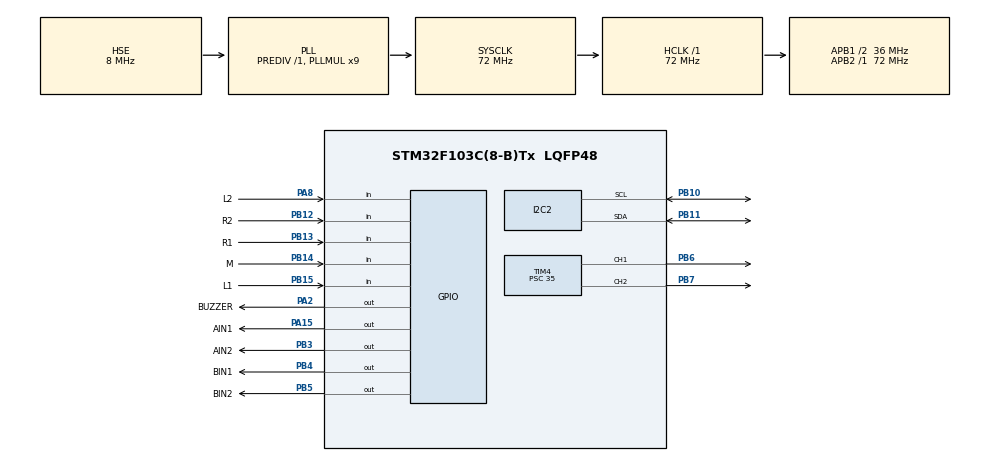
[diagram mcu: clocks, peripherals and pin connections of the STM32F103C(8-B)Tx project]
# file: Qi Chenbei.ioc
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Mcu.Family=STM32F1
Mcu.Name=STM32F103C(8-B)Tx
Mcu.Package=LQFP48
NVIC.PriorityGroup=NVIC_PRIORITYGROUP_4
PA13.Mode=Serial_Wire
PA13.Signal=SYS_JTMS-SWDIO
PA14.Mode=Serial_Wire
PA14.Signal=SYS_JTCK-SWCLK
PA15.GPIO_Label=AIN1
PA15.Signal=GPIO_Output
PA2.GPIO_Label=BUZZER
PA2.Signal=GPIO_Output
PA8.GPIO_Label=L2
PA8.GPIO_PuPd=GPIO_PULLUP
PA8.Signal=GPIO_Input
PB10.Mode=I2C
PB10.Signal=I2C2_SCL
PB11.Mode=I2C
PB11.Signal=I2C2_SDA
PB12.GPIO_Label=R2
PB12.GPIO_PuPd=GPIO_PULLUP
PB12.Signal=GPIO_Input
PB13.GPIO_Label=R1
PB13.GPIO_PuPd=GPIO_PULLUP
PB13.Signal=GPIO_Input
PB14.GPIO_Label=M
PB14.GPIO_PuPd=GPIO_PULLUP
PB14.Signal=GPIO_Input
PB15.GPIO_Label=L1
PB15.GPIO_PuPd=GPIO_PULLUP
PB15.Signal=GPIO_Input
PB3.GPIO_Label=AIN2
PB3.Signal=GPIO_Output
PB4.GPIO_Label=BIN1
PB4.Signal=GPIO_Output
PB5.GPIO_Label=BIN2
PB5.Signal=GPIO_Output
PB6.Signal=S_TIM4_CH1
PB7.Signal=S_TIM4_CH2
PC14-OSC32_IN.Mode=LSE-External-Oscillator
PC14-OSC32_IN.Signal=RCC_OSC32_IN
PC15-OSC32_OUT.Mode=LSE-External-Oscillator
PC15-OSC32_OUT.Signal=RCC_OSC32_OUT
PD0-OSC_IN.Mode=HSE-External-Oscillator
PD0-OSC_IN.Signal=RCC_OSC_IN
PD1-OSC_OUT.Mode=HSE-External-Oscillator
PD1-OSC_OUT.Signal=RCC_OSC_OUT
ProjectManager.HeapSize=0x200
ProjectManager.StackSize=0x400
ProjectManager.TargetToolchain=MDK-ARM V5.32
RCC.AHBFreq_Value=72000000
RCC.APB1CLKDivider=RCC_HCLK_DIV2
RCC.APB1Freq_Value=36000000
RCC.APB1TimFreq_Value=72000000
RCC.APB2Freq_Value=72000000
RCC.APB2TimFreq_Value=72000000
RCC.HCLKFreq_Value=72000000
RCC.PLLMUL=RCC_PLL_MUL9
RCC.PLLSourceVirtual=RCC_PLLSOURCE_HSE
RCC.SYSCLKFreq_VALUE=72000000
RCC.SYSCLKSource=RCC_SYSCLKSOURCE_PLLCLK
RCC.USBFreq_Value=72000000
SH.S_TIM4_CH1.0=TIM4_CH1,PWM Generation1 CH1
SH.S_TIM4_CH2.0=TIM4_CH2,PWM Generation2 CH2
TIM4.Channel-PWM\ Generation1\ CH1=TIM_CHANNEL_1
TIM4.Channel-PWM\ Generation2\ CH2=TIM_CHANNEL_2
TIM4.Period=99
TIM4.Prescaler=35
board=custom

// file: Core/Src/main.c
/* USER CODE BEGIN Header */
/**
  ******************************************************************************
  * @file           : main.c
  * @brief          : Main program body
  ******************************************************************************
  * @attention
  *
  * Copyright (c) 2026 STMicroelectronics.
  * All rights reserved.
  *
  * This software is licensed under terms that can be found in the LICENSE file
  * in the root directory of this software component.
  * If no LICENSE file comes with this software, it is provided AS-IS.
  *
  ******************************************************************************
  */
/* USER CODE END Header */
#include "main.h"
#include "i2c.h"
#include "tim.h"
#include "gpio.h"

/* USER CODE BEGIN Includes */
#include "motor.h"
#include "buzzer.h"
#include "oled.h"
#include "track.h"
/* USER CODE END Includes */

void SystemClock_Config(void);

/* USER CODE BEGIN 0 */

#define L2 HAL_GPIO_ReadPin(GPIOB, GPIO_PIN_12)
#define L1 HAL_GPIO_ReadPin(GPIOB, GPIO_PIN_13)
#define M  HAL_GPIO_ReadPin(GPIOB, GPIO_PIN_14)
#define R1 HAL_GPIO_ReadPin(GPIOB, GPIO_PIN_15)
#define R2 HAL_GPIO_ReadPin(GPIOA, GPIO_PIN_8)

/* USER CODE END 0 */

int main(void)
{

  /* MCU Configuration--------------------------------------------------------*/

  /* Reset of all peripherals, Initializes the Flash interface and the Systick. */
  HAL_Init();

  /* Configure the system clock */
  SystemClock_Config();

  /* Initialize all configured peripherals */
  MX_GPIO_Init();
  MX_I2C2_Init();
  MX_TIM4_Init();
  /* USER CODE BEGIN 2 */
  Motor_Init();
  Buzzer_Init();                //蜂鸣器静音，标志位清零
  OLED_Init();                  //OLED 初始化（软件 I2C：PB8=SCL，PB9=SDA）

  Track_Init();                  /* 循迹模块：上电停机（探头引脚已由 MX_GPIO_Init 配好） */

  /* USER CODE END 2 */

  /* Infinite loop */
  while (1)
  {

    /* USER CODE BEGIN 3 */
    Track_move();                  /* 5 路循迹：读探头 -> 差速输出 */
    HAL_Delay(5);                  /* 5ms 控制周期 */

  }
  /* USER CODE END 3 */
}

void SystemClock_Config(void)
{
  RCC_OscInitTypeDef RCC_OscInitStruct = {0};
  RCC_ClkInitTypeDef RCC_ClkInitStruct = {0};

  /** Initializes the RCC Oscillators according to the specified parameters
  * in the RCC_OscInitTypeDef structure.
  */
  RCC_OscInitStruct.OscillatorType = RCC_OSCILLATORTYPE_HSE;
  RCC_OscInitStruct.HSEState = RCC_HSE_ON;
  RCC_OscInitStruct.HSEPredivValue = RCC_HSE_PREDIV_DIV1;
  RCC_OscInitStruct.HSIState = RCC_HSI_ON;
  RCC_OscInitStruct.PLL.PLLState = RCC_PLL_ON;
  RCC_OscInitStruct.PLL.PLLSource = RCC_PLLSOURCE_HSE;
  RCC_OscInitStruct.PLL.PLLMUL = RCC_PLL_MUL9;
  if (HAL_RCC_OscConfig(&RCC_OscInitStruct) != HAL_OK)
  {
    Error_Handler();
  }

  /** Initializes the CPU, AHB and APB buses clocks
  */
  RCC_ClkInitStruct.ClockType = RCC_CLOCKTYPE_HCLK|RCC_CLOCKTYPE_SYSCLK
                              |RCC_CLOCKTYPE_PCLK1|RCC_CLOCKTYPE_PCLK2;
  RCC_ClkInitStruct.SYSCLKSource = RCC_SYSCLKSOURCE_PLLCLK;
  RCC_ClkInitStruct.AHBCLKDivider = RCC_SYSCLK_DIV1;
  RCC_ClkInitStruct.APB1CLKDivider = RCC_HCLK_DIV2;
  RCC_ClkInitStruct.APB2CLKDivider = RCC_HCLK_DIV1;

  if (HAL_RCC_ClockConfig(&RCC_ClkInitStruct, FLASH_LATENCY_2) != HAL_OK)
  {
    Error_Handler();
  }
}

void Error_Handler(void)
{
  __disable_irq();
  while (1)
  {
  }
}
